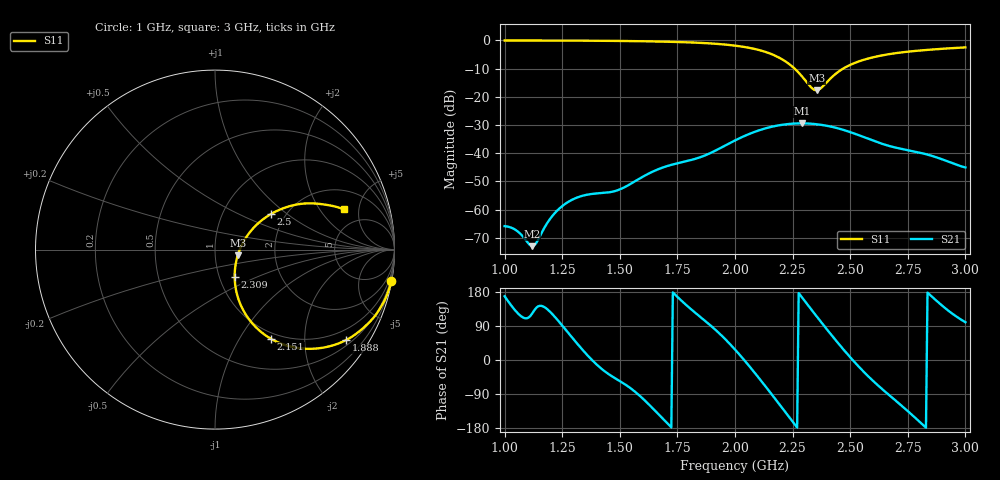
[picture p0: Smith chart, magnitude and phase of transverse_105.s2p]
! TOUCHSTONE file generated by CST MICROWAVE STUDIO
! Date and time: Tue Mar 11 13:56:43 2025
! Project name: transverse.cst
! Parameters = {Fracture=1; B=10; D=160; F=25; Feed=2.85625; L=100; M=30; R=0.384908; S=1; Theta=90; length=57.125; wave=114.25}
! Header version: 2024
! Port assignment regex: !\s*Touchstone port\s*([0-9]+)\s*=\s*(CST MWS port|CST DES external port|CST DES block port)\s*(.+)\s* \(\"(.*)\"\)(\s*mode\s*([0-9]+))?.*
! Touchstone port assignment:
! Touchstone port 1 = CST MWS port 1 ("")
! Touchstone port 2 = CST MWS port 2 ("")
# GHz S MA R 50
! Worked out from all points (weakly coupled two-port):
!   305 points, 1 GHz to 3 GHz, reference 50 ohm
!   highest |S21| = -29.42 dB at 2.289 GHz (marker M1); lowest = -73.0 dB at 1.118 GHz (marker M2)
!   lowest |S11| = -17.7 dB at 2.355 GHz (marker M3), VSWR 1.30, Z = 64.4 - j4.09 ohm
!   |S11| at or under -10 dB: 2.259 GHz to 2.47 GHz (211 MHz wide, 8.92 % of centre)
!   S12 and S22 are empty: the file has one direction only
!   S11 on the Smith chart (normalised r, x): 1 GHz: 0, -11; 1.888 GHz: 0.65, -3.08; 2.151 GHz: 0.91, -1.38; 2.309 GHz: 1.18, -0.37; 2.5 GHz: 1.68, +0.77; 3 GHz: 3.34, +3.44
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1  0.9976 -10.0  0.0005091 168.1  0 0.0  0 0.0
1.05263  0.9971 -10.7  0.0004226 126.3  0 0.0  0 0.0
1.11842  0.9962 -11.7  0.0002247 121.6  0 0.0  0 0.0
1.13816  0.9958 -12.0  0.0002598 138.2  0 0.0  0 0.0
1.18421  0.9945 -12.7  0.0005712 134.5  0 0.0  0 0.0
1.23026  0.9931 -13.5  0.0009787 105.3  0 0.0  0 0.0
1.33553  0.9893 -15.5  0.001747 28.7  0 0.0  0 0.0
1.49342  0.9783 -19.1  0.002227 -53.2  0 0.0  0 0.0
1.67105  0.9547 -24.5  0.005277 -145.0  0 0.0  0 0.0
1.88816  0.887 -34.6  0.009836 94.0  0 0.0  0 0.0
2  0.8071 -42.7  0.01683 27.7  0 0.0  0 0.0
2.15132  0.5865 -57.9  0.0289 -84.3  0 0.0  0 0.0
2.22368  0.4116 -64.4  0.03266 -141.5  0 0.0  0 0.0
2.28947  0.2334 -60.9  0.03381 166.2  0 0.0  0 0.0
2.30921  0.186 -53.9  0.03369 150.6  0 0.0  0 0.0
2.33553  0.1406 -35.0  0.0332 129.8  0 0.0  0 0.0
2.35526  0.1307 -13.8  0.03259 114.4  0 0.0  0 0.0
2.44079  0.2626 30.5  0.028 49.5  0 0.0  0 0.0
2.5  0.3681 32.4  0.02367 7.3  0 0.0  0 0.0
2.67105  0.5723 26.7  0.01338 -93.7  0 0.0  0 0.0
2.84211  0.6825 21.2  0.009286 174.1  0 0.0  0 0.0
3  0.7513 17.4  0.005584 99.7  0 0.0  0 0.0
